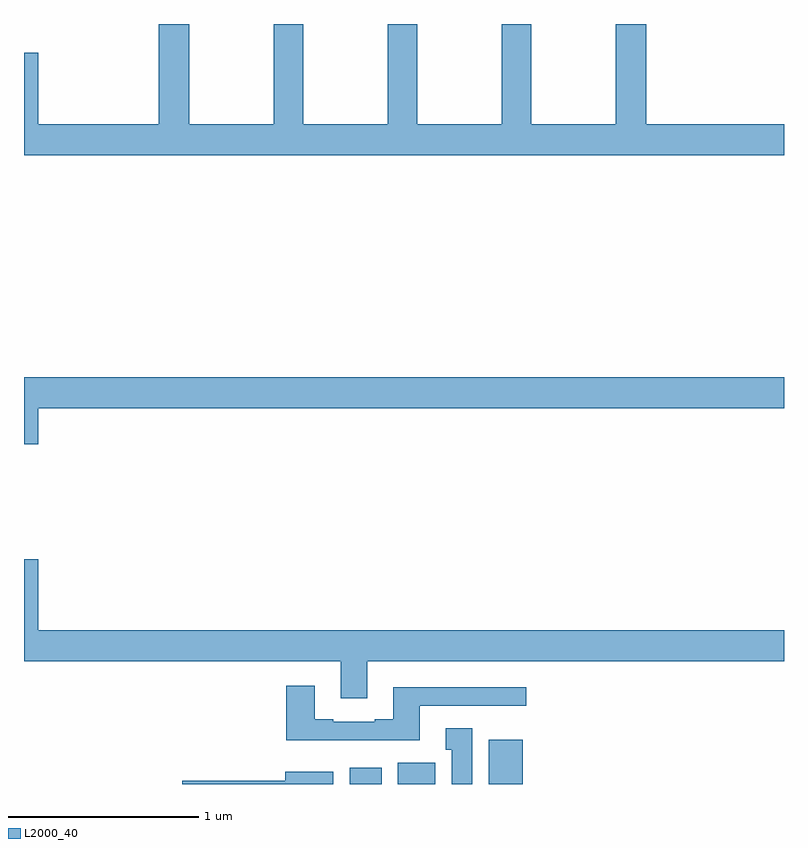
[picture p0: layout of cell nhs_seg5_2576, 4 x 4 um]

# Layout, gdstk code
import gdstk
lib = gdstk.Library(unit=1e-6, precision=1e-09)
def R(c, l, rs):  # rectangles x0, y0, x1, y1
    for r in rs: c.add(gdstk.rectangle(r[:2], r[2:], *l))
def P(c, l, *ps):  # polygons
    for p in ps: c.add(gdstk.Polygon(p, *l))
L2000_40 = (2000, 40)

nhs_seg5_2576 = lib.new_cell('nhs_seg5_2576')
R(nhs_seg5_2576, L2000_40, [(262.715,838.799,262.882,838.885), (262.967,838.799,263.164,838.912), (263.447,838.799,263.626,839.032)])
P(nhs_seg5_2576, L2000_40, [(265,842.272),(264.275,842.272),(264.275,842.799),(264.115,842.799),(264.115,842.272),(263.67,842.272),(263.67,842.799),(263.515,842.799),(263.515,842.272),(263.07,842.272),(263.07,842.799),(262.915,842.799),(262.915,842.272),(262.47,842.272),(262.47,842.799),(262.315,842.799),(262.315,842.272),(261.87,842.272),(261.87,842.799),(261.71,842.799),(261.71,842.272),(261.076,842.272),(261.076,842.647),(261,842.647),(261,842.108),(265,842.108)],
  [(261.076,840.776),(265,840.776),(265,840.94),(261,840.94),(261,840.588),(261.076,840.588)],
  [(262.807,839.444),(265,839.444),(265,839.608),(261.076,839.608),(261.076,839.983),(261,839.983),(261,839.444),(262.667,839.444),(262.667,839.25),(262.807,839.25)],
  [(263.083,839.211),(263.644,839.211),(263.644,839.308),(262.943,839.308),(262.943,839.14),(262.847,839.14),(262.847,839.127),(262.627,839.127),(262.627,839.14),(262.531,839.14),(262.531,839.317),(262.379,839.317),(262.379,839.03),(263.083,839.03)],
  [(263.359,839.092),(263.219,839.092),(263.219,838.979),(263.252,838.979),(263.252,838.799),(263.359,838.799)],
  [(262.627,838.864),(262.376,838.864),(262.376,838.817),(261.833,838.817),(261.833,838.799),(262.627,838.799)])

lib.write_gds('nhs_seg5_2576.gds')
